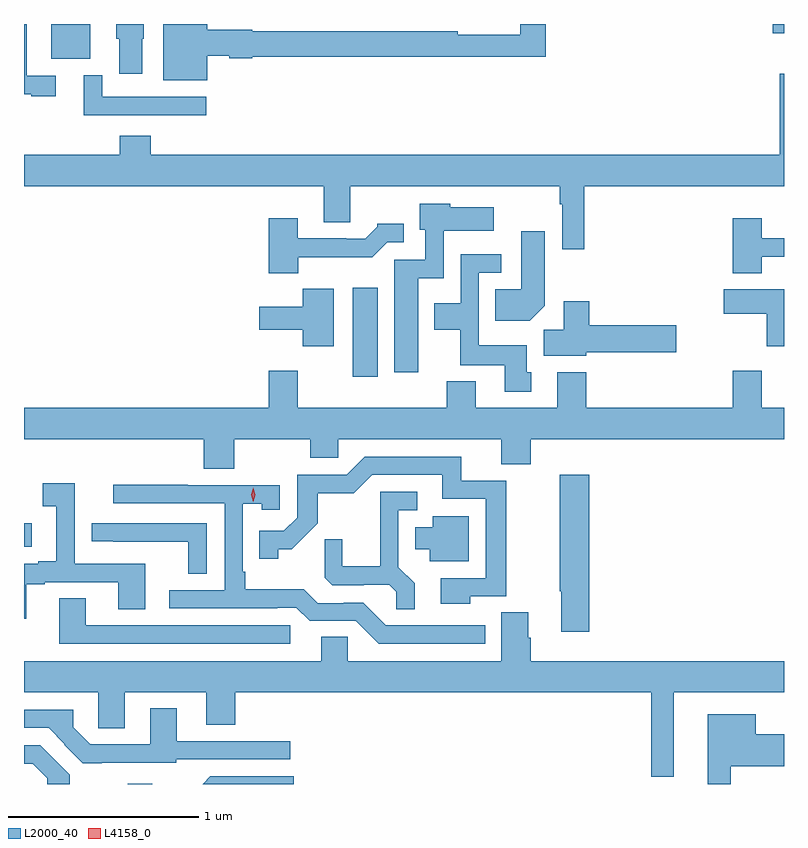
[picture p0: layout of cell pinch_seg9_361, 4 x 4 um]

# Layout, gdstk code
import gdstk
lib = gdstk.Library(unit=1e-6, precision=1e-09)
def R(c, l, rs):  # rectangles x0, y0, x1, y1
    for r in rs: c.add(gdstk.rectangle(r[:2], r[2:], *l))
def P(c, l, *ps):  # polygons
    for p in ps: c.add(gdstk.Polygon(p, *l))
L2000_40 = (2000, 40)
L4158_0 = (4158, 0)

pinch_seg9_361 = lib.new_cell('pinch_seg9_361')
R(pinch_seg9_361, L2000_40, [(372.637,1230.569,372.766,1230.571), (372.09,1231.817,372.13,1231.941), (373.82,1232.712,373.951,1233.181), (372.233,1234.385,372.439,1234.569), (376.032,1234.52,376.09,1234.569)])
P(pinch_seg9_361, L2000_40, [(373.054,1234.403),(373.17,1234.403),(373.17,1234.388),(373.29,1234.388),(373.29,1234.396),(374.837,1234.396),(374.837,1234.569),(374.701,1234.569),(374.701,1234.512),(374.372,1234.512),(374.372,1234.532),(373.29,1234.532),(373.29,1234.54),(373.054,1234.54),(373.054,1234.569),(372.824,1234.569),(372.824,1234.274),(373.054,1234.274)],
  [(372.256,1234.296),(372.105,1234.296),(372.105,1234.569),(372.09,1234.569),(372.09,1234.199),(372.128,1234.199),(372.128,1234.188),(372.256,1234.188)],
  [(372.712,1234.491),(372.721,1234.491),(372.721,1234.569),(372.575,1234.569),(372.575,1234.491),(372.59,1234.491),(372.59,1234.308),(372.712,1234.308)],
  [(375.038,1233.716),(376.09,1233.716),(376.09,1234.306),(376.067,1234.306),(376.067,1233.88),(372.758,1233.88),(372.758,1233.982),(372.593,1233.982),(372.593,1233.88),(372.09,1233.88),(372.09,1233.716),(373.667,1233.716),(373.667,1233.526),(373.807,1233.526),(373.807,1233.716),(374.91,1233.716),(374.91,1233.62),(374.922,1233.62),(374.922,1233.384),(375.038,1233.384)],
  [(373.048,1234.185),(372.501,1234.185),(372.501,1234.3),(372.404,1234.3),(372.404,1234.089),(373.048,1234.089)],
  [(374.164,1233.23),(374.298,1233.23),(374.298,1233.482),(374.563,1233.482),(374.563,1233.604),(374.334,1233.604),(374.334,1233.622),(374.174,1233.622),(374.174,1233.486),(374.202,1233.486),(374.202,1233.327),(374.039,1233.327),(374.039,1232.736),(374.164,1232.736)],
  [(375.973,1233.344),(376.09,1233.344),(376.09,1233.441),(375.973,1233.441),(375.973,1233.547),(375.821,1233.547),(375.821,1233.257),(375.973,1233.257)],
  [(373.534,1233.342),(373.923,1233.342),(374.001,1233.42),(374.089,1233.42),(374.089,1233.517),(373.95,1233.517),(373.95,1233.502),(373.886,1233.438),(373.787,1233.438),(373.787,1233.441),(373.531,1233.441),(373.531,1233.547),(373.379,1233.547),(373.379,1233.257),(373.534,1233.257)],
  [(374.83,1233.086),(374.83,1233.478),(374.708,1233.478),(374.708,1233.172),(374.569,1233.172),(374.569,1233.008),(374.752,1233.008)],
  [(374.761,1232.736),(374.737,1232.736),(374.737,1232.878),(374.484,1232.878),(374.484,1233.261),(374.602,1233.261),(374.602,1233.357),(374.388,1233.357),(374.388,1233.1),(374.249,1233.1),(374.249,1232.96),(374.386,1232.96),(374.386,1232.774),(374.621,1232.774),(374.621,1232.634),(374.761,1232.634)],
  [(373.72,1233.175),(373.558,1233.175),(373.558,1233.082),(373.329,1233.082),(373.329,1232.96),(373.556,1232.96),(373.556,1232.874),(373.72,1232.874)],
  [(376.09,1233.172),(375.774,1233.172),(375.774,1233.043),(375.998,1233.043),(375.998,1232.874),(376.09,1232.874)],
  [(375.048,1232.842),(375.523,1232.842),(375.523,1232.984),(375.065,1232.984),(375.065,1233.109),(374.93,1233.109),(374.93,1232.96),(374.825,1232.96),(374.825,1232.822),(375.048,1232.822)],
  [(373.197,1232.384),(373.597,1232.384),(373.597,1232.286),(373.743,1232.286),(373.743,1232.384),(374.603,1232.384),(374.603,1232.251),(374.756,1232.251),(374.756,1232.384),(376.09,1232.384),(376.09,1232.548),(375.973,1232.548),(375.973,1232.743),(375.821,1232.743),(375.821,1232.548),(375.05,1232.548),(375.05,1232.737),(374.897,1232.737),(374.897,1232.548),(374.467,1232.548),(374.467,1232.689),(374.315,1232.689),(374.315,1232.548),(373.531,1232.548),(373.531,1232.743),(373.379,1232.743),(373.379,1232.548),(372.09,1232.548),(372.09,1232.384),(373.037,1232.384),(373.037,1232.227),(373.197,1232.227)],
  [(374.439,1231.557),(374.629,1231.557),(374.629,1232.166),(374.39,1232.166),(374.39,1232.292),(373.884,1232.292),(373.788,1232.196),(373.527,1232.196),(373.527,1231.971),(373.458,1231.902),(373.327,1231.902),(373.327,1231.755),(373.428,1231.755),(373.428,1231.805),(373.498,1231.805),(373.636,1231.942),(373.636,1232.098),(373.825,1232.098),(373.923,1232.196),(374.291,1232.196),(374.291,1232.07),(374.52,1232.07),(374.52,1231.653),(374.283,1231.653),(374.283,1231.517),(374.439,1231.517)],
  [(375.065,1232.197),(374.911,1232.197),(374.911,1231.583),(374.918,1231.583),(374.918,1231.371),(375.065,1231.371)],
  [(372.103,1231.62),(372.199,1231.62),(372.199,1231.632),(372.587,1231.632),(372.587,1231.489),(372.727,1231.489),(372.727,1231.728),(372.357,1231.728),(372.357,1232.152),(372.189,1232.152),(372.189,1232.032),(372.26,1232.032),(372.26,1231.741),(372.164,1231.741),(372.164,1231.728),(372.09,1231.728),(372.09,1231.44),(372.103,1231.44)],
  [(374.518,1231.404),(373.995,1231.404),(373.875,1231.524),(373.774,1231.524),(373.774,1231.521),(373.635,1231.521),(373.562,1231.594),(373.255,1231.594),(373.255,1231.687),(373.242,1231.687),(373.242,1232.045),(373.341,1232.045),(373.341,1232.013),(373.437,1232.013),(373.437,1232.142),(372.953,1232.142),(372.953,1232.145),(372.561,1232.145),(372.561,1232.046),(373.146,1232.046),(373.146,1231.59),(372.855,1231.59),(372.855,1231.494),(373.424,1231.494),(373.424,1231.497),(373.524,1231.497),(373.593,1231.428),(373.836,1231.428),(373.956,1231.308),(374.518,1231.308)],
  [(374.147,1231.625),(374.061,1231.711),(374.061,1232.01),(374.161,1232.01),(374.161,1232.106),(373.964,1232.106),(373.964,1231.714),(373.766,1231.714),(373.766,1231.857),(373.672,1231.857),(373.672,1231.655),(373.713,1231.614),(373.878,1231.614),(373.878,1231.617),(374.012,1231.617),(374.049,1231.58),(374.049,1231.489),(374.147,1231.489)],
  [(374.431,1231.978),(374.24,1231.978),(374.24,1231.921),(374.15,1231.921),(374.15,1231.805),(374.225,1231.805),(374.225,1231.742),(374.431,1231.742)],
  [(373.053,1231.941),(372.447,1231.941),(372.447,1231.846),(372.559,1231.846),(372.559,1231.845),(372.955,1231.845),(372.955,1231.675),(373.053,1231.675)],
  [(373.492,1231.404),(372.415,1231.404),(372.415,1231.547),(372.275,1231.547),(372.275,1231.308),(373.492,1231.308)],
  [(375.511,1231.052),(376.09,1231.052),(376.09,1231.216),(374.756,1231.216),(374.756,1231.338),(374.743,1231.338),(374.743,1231.472),(374.603,1231.472),(374.603,1231.216),(373.794,1231.216),(373.794,1231.343),(373.655,1231.343),(373.655,1231.216),(372.09,1231.216),(372.09,1231.052),(372.48,1231.052),(372.48,1230.862),(372.619,1230.862),(372.619,1231.052),(373.049,1231.052),(373.049,1230.88),(373.202,1230.88),(373.202,1231.052),(375.39,1231.052),(375.39,1230.608),(375.511,1230.608)],
  [(372.499,1230.681),(372.891,1230.681),(372.891,1230.699),(373.492,1230.699),(373.492,1230.795),(372.895,1230.795),(372.895,1230.967),(372.755,1230.967),(372.755,1230.777),(372.438,1230.777),(372.348,1230.868),(372.348,1230.96),(372.09,1230.96),(372.09,1230.864),(372.219,1230.864),(372.304,1230.779),(372.301,1230.776),(372.399,1230.679),(372.499,1230.679)],
  [(375.811,1230.662),(376.09,1230.662),(376.09,1230.832),(375.94,1230.832),(375.94,1230.937),(375.689,1230.937),(375.689,1230.569),(375.811,1230.569)],
  [(372.331,1230.619),(372.175,1230.774),(372.09,1230.774),(372.09,1230.676),(372.136,1230.676),(372.212,1230.6),(372.212,1230.569),(372.331,1230.569)],
  [(373.511,1230.609),(373.07,1230.609),(373.03,1230.569),(373.511,1230.569)])
P(pinch_seg9_361, L4158_0, [(373.297,1232.055),(373.297,1232.055),(373.287,1232.091),(373.297,1232.126),(373.297,1232.127),(373.297,1232.126),(373.307,1232.091),(373.297,1232.055)])

lib.write_gds('pinch_seg9_361.gds')
